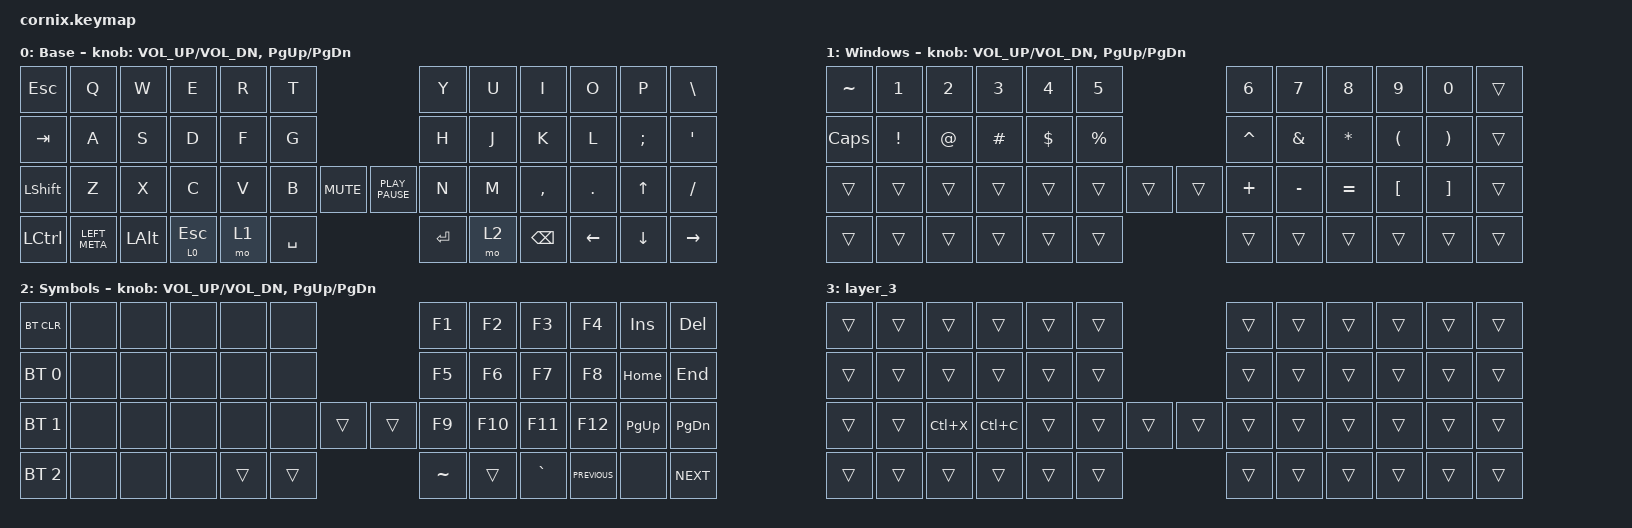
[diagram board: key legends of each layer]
/*
 * Copyright (c) 2020 The ZMK Contributors
 *
 * SPDX-License-Identifier: MIT
 */

#include "zmk-helpers/helper.h"
#include "includes/cornix54.h"

// tap windows for ctl alt and gui

#define HM_TAPPING_TERM 250
#define HM_TAPPING_REPEAT 210

// quick tapping for shift

#define HM_TAPPING_TERM_FAST 200
#define HM_PRIOR_IDLE 70
#define BASE 0
#define WIN 1
#define LOWER 2
#define RAISE 3
#define ADJUST 4
#define NAVI   5
#define NUM    6
#define DEBUG  7

// https://github.com/urob/zmk-config/tree/main#timeless-homerow-mods

#define KEYS_L LT0 LT1 LT2 LT3 LT4 LT5 LM0 LM1 LM2 LM3 LM4 LM5 LB0 LB1 LB2 LB3 LB4 LB5  // left hand
#define KEYS_R RT0 RT1 RT2 RT3 RT4 RT5 RM0 RM1 RM2 RM3 RM4 RM5 RB0 RB1 RB2 RB3 RB4 RB5  // right hand
#define THUMBS LH1 LH0 RH0 RH1
#define KEYS_T LH1 LH0 RH0 RH1
#define ZMK_POINTING_DEFAULT_SCRL_VAL 15

#include <behaviors.dtsi>
#include <dt-bindings/zmk/bt.h>
#include <dt-bindings/zmk/keys.h>

/ {
    // Activate ADJUST layer by pressing raise and lower

    behaviors {
        hm_l: homerow_mods_left {
            compatible = "zmk,behavior-hold-tap";
            #binding-cells = <2>;
            bindings = <&kp>, <&kp>;

            flavor = "balanced";
            tapping-term-ms = <HM_TAPPING_TERM>;
            quick-tap-ms = <200>;                // repeat on tap-into-hold
            require-prior-idle-ms = <HM_PRIOR_IDLE>;
            hold-trigger-key-positions = <KEYS_R KEYS_T>;
            hold-trigger-on-release;
        };

        hm_r: homerow_mods_right {
            compatible = "zmk,behavior-hold-tap";
            #binding-cells = <2>;
            bindings = <&kp>, <&kp>;

            flavor = "balanced";
            tapping-term-ms = <HM_TAPPING_TERM>;
            quick-tap-ms = <200>;
            require-prior-idle-ms = <HM_PRIOR_IDLE>;
            hold-trigger-key-positions = <KEYS_L KEYS_T>;
            hold-trigger-on-release;
        };

        // Positional Homerow mods for shift
        // Use faster tapping term and disable some features that may
        // cause false negatives.

        hm_shift_l: hm_shift_l {
            compatible = "zmk,behavior-hold-tap";
            #binding-cells = <2>;
            bindings = <&kp>, <&kp>;

            //flavor = "balanced";

            flavor = "balanced";
            tapping-term-ms = <HM_TAPPING_TERM_FAST>;
            quick-tap-ms = <200>;
            require-prior-idle-ms = <HM_PRIOR_IDLE>;
            hold-trigger-key-positions = <KEYS_R KEYS_T>;
            hold-trigger-on-release;
        };

        hm_shift_r: hm_shift_r {
            compatible = "zmk,behavior-hold-tap";
            #binding-cells = <2>;
            bindings = <&kp>, <&kp>;

            flavor = "balanced";
            tapping-term-ms = <HM_TAPPING_TERM_FAST>;
            quick-tap-ms = <200>;
            require-prior-idle-ms = <HM_PRIOR_IDLE>;
            hold-trigger-key-positions = <KEYS_L KEYS_T>;

            // for quick tapping; shift+~

            hold-trigger-on-release;
        };

        /*
         * Non-Positional Homerow Mods
         * Used for &mm_grescm_gui behavior on left hand.
         *
         * Usage: &hm LSHFT T
         * Tap: T
         * Tap-Tap-Hold: Repeat T
         * Hold: LSHIFT
         */

        hm: homerow_mods {
            compatible = "zmk,behavior-hold-tap";
            #binding-cells = <2>;
            bindings = <&kp>, <&kp>;

            flavor = "balanced";
            tapping-term-ms = <HM_TAPPING_TERM>;
            quick-tap-ms = <200>;
        };

        lt: layer_tap {
            compatible = "zmk,behavior-hold-tap";
            #binding-cells = <2>;
            bindings = <&mo>, <&kp>;

            flavor = "hold-preferred";
            tapping-term-ms = <HM_TAPPING_TERM>;
            quick-tap-ms = <200>;
        };
    };

    conditional_layers {
        compatible = "zmk,conditional-layers";

        adjust_layer {
            if-layers = <3 2>;
            then-layer = <4>;
        };
    };

    combos {
        compatible = "zmk,combos";

        cb_ltm {
            bindings = <&kp ESC>;
            key-positions = <2 4>;
            layers = <0 1>;
        };

        cb_lm {
            bindings = <&kp TAB>;
            key-positions = <14 16>;
            layers = <0 1>;
        };

        cb_enter {
            bindings = <&kp RET>;
            key-positions = <21 19>;
            layers = <0 1>;
        };

        layer3 {
            bindings = <&kp N3>;
            key-positions = <5 6>;
        };

        layer4 {
            bindings = <&kp N4>;
            key-positions = <5 6>;
        };
    };

    keymap {
        compatible = "zmk,keymap";

        base_layer {
            display-name = "Base";

            // ------------------------------------------------------------------------------------------------------------
            // |   `   |  1  |  2  |  3   |  4   |  5   |                   |  6   |  7    |  8    |  9   |   0   |       |
            // |  ESC  |  Q  |  W  |  E   |  R   |  T   |                   |  Y   |  U    |  I    |  O   |   P   | BKSPC |
            // |  TAB  |  A  |  S  |  D   |  F   |  G   |                   |  H   |  J    |  K    |  L   |   ;   |   '   |
            // | SHIFT |  Z  |  X  |  C   |  V   |  B   |  MUTE  |  |       |  N   |  M    |  ,    |  .   |   /   | SHIFT |
            //               | GUI | ALT  | CTRL | LOWER|  ENTER |  | SPACE | RAISE| CTRL  | ALT   | GUI  |

            bindings = <
&kp ESCAPE        &kp Q          &kp W         &kp E         &kp R  &kp T                                    &kp Y      &kp U  &kp I          &kp O     &kp P          &kp BSLH
&kp TAB           &kp A          &kp S         &kp D         &kp F  &kp G                                    &kp H      &kp J  &kp K          &kp L     &kp SEMICOLON  &kp SQT
&kp LEFT_SHIFT    &kp Z          &kp X         &kp C         &kp V  &kp B      &kp K_MUTE  &kp K_PLAY_PAUSE  &kp N      &kp M  &kp COMMA      &kp DOT   &kp UP_ARROW   &kp SLASH
&kp LEFT_CONTROL  &kp LEFT_META  &kp LEFT_ALT  &lt 0 ESCAPE  &mo 1  &kp SPACE                                &kp ENTER  &mo 2  &kp BACKSPACE  &kp LEFT  &kp DOWN       &kp RIGHT_ARROW
            >;

            sensor-bindings = <&inc_dec_kp C_VOL_UP C_VOL_DN &inc_dec_kp PG_UP PG_DN>;
        };

        layer1 {
            display-name = "Windows";

            // ------------------------------------------------------------------------------------------------------------
            // |   `   |  1  |  2  |  3   |  4   |  5   |                   |  6   |  7    |  8    |  9   |   0   |       |
            // |  ESC  |  Q  |  W  |  E   |  R   |  T   |                   |  Y   |  U    |  I    |  O   |   P   | BKSPC |
            // |  TAB  |  A  |  S  |  D   |  F   |  G   |                   |  H   |  J    |  K    |  L   |   ;   |   '   |
            // | SHIFT |  Z  |  X  |  C   |  V   |  B   |  MUTE  |  |       |  N   |  M    |  ,    |  .   |   /   | SHIFT |
            //               | GUI | ALT  | CTRL | LOWER|  ENTER |  | SPACE | RAISE| CTRL  | ALT   | GUI  |

            bindings = <
&kp TILDE     &kp NUMBER_1  &kp NUMBER_2  &kp NUMBER_3  &kp NUMBER_4  &kp N5                     &kp NUMBER_6  &kp N7     &kp N8     &kp N9            &kp N0             &trans
&kp CAPSLOCK  &kp EXCL      &kp AT        &kp HASH      &kp DLLR      &kp PRCNT                  &kp CARET     &kp AMPS   &kp STAR   &kp LPAR          &kp RPAR           &trans
&trans        &trans        &trans        &trans        &trans        &trans     &trans  &trans  &kp PLUS      &kp MINUS  &kp EQUAL  &kp LEFT_BRACKET  &kp RIGHT_BRACKET  &trans
&trans        &trans        &trans        &trans        &trans        &trans                     &trans        &trans     &trans     &trans            &trans             &trans
            >;

            sensor-bindings = <&inc_dec_kp C_VOL_UP C_VOL_DN &inc_dec_kp PG_UP PG_DN>;
        };

        Symbol_layer {
            display-name = "Symbols";

            // TODO: Some binds are waiting for shifted keycode support.
            // -------------------------------
            // |       |  F1 |  F2 |  F3  |  F4  |  F5  |                   |  F6  |  F7   |  F8   |  F9  |  F10  |  F11  |
            // |   `   |  1  |  2  |  3   |  4   |  5   |                   |  6   |  7    |  8    |  9   |   0   |  F12  |
            // |       |  !  |  @  |  #   |  $   |  %   |                   |  ^   |  &    |  *    |  (   |   )   |   |   |
            // |       |  =  |  -  |  +   |  {   |  }   |        |  |       |  [   |  ]    |  ;    |  :   |   \   |       |
            //               |     |      |      |      |        |  |       |      |       |       |      |

            bindings = <
&bt BT_CLR    &none  &none  &none  &none   &none                   &kp F1     &kp F2   &kp F3     &kp F4          &kp INSERT   &kp DEL
&bt BT_SEL 0  &none  &none  &none  &none   &none                   &kp F5     &kp F6   &kp F7     &kp F8          &kp HOME     &kp END
&bt BT_SEL 1  &none  &none  &none  &none   &none   &trans  &trans  &kp F9     &kp F10  &kp F11    &kp F12         &kp PAGE_UP  &kp PAGE_DOWN
&bt BT_SEL 2  &none  &none  &none  &trans  &trans                  &kp TILDE  &trans   &kp GRAVE  &kp K_PREVIOUS  &none        &kp K_NEXT
            >;

            sensor-bindings = <&inc_dec_kp C_VOL_UP C_VOL_DN &inc_dec_kp PG_UP PG_DN>;
        };

        layer_3 {
            bindings = <
&trans  &trans  &trans     &trans     &trans  &trans                  &trans  &trans  &trans  &trans  &trans  &trans
&trans  &trans  &trans     &trans     &trans  &trans                  &trans  &trans  &trans  &trans  &trans  &trans
&trans  &trans  &kp LC(X)  &kp LC(C)  &trans  &trans  &trans  &trans  &trans  &trans  &trans  &trans  &trans  &trans
&trans  &trans  &trans     &trans     &trans  &trans                  &trans  &trans  &trans  &trans  &trans  &trans
            >;
        };
    };
};
